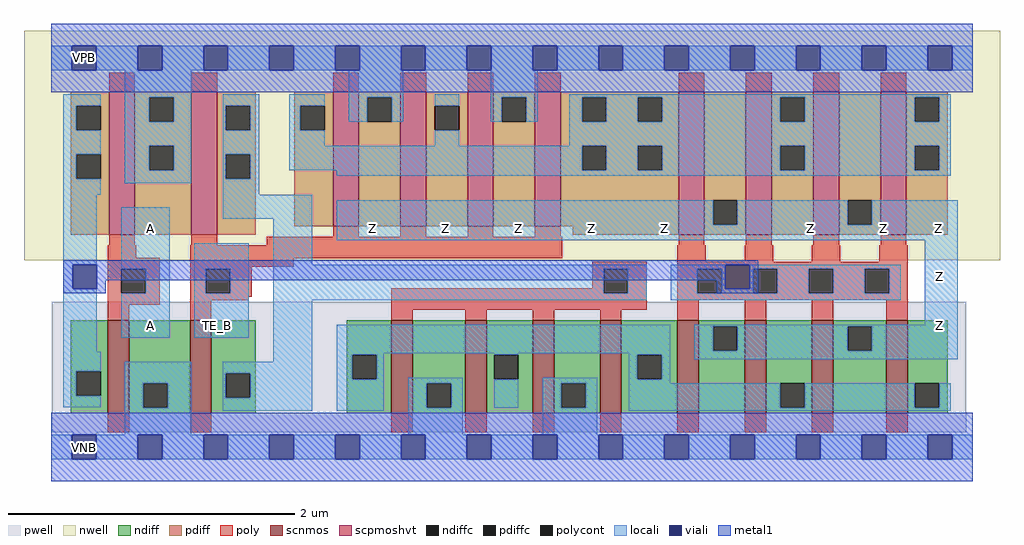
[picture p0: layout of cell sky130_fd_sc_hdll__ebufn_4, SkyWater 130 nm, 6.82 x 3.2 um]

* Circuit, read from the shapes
.subckt sky130_fd_sc_hdll__ebufn_4 A TE_B VGND VNB VPB VPWR Z
XM1 VGND A n1 VNB sky130_fd_pr__nfet_01v8 w=0.65 l=0.15
XM2 n2 TE_B VGND VNB sky130_fd_pr__nfet_01v8 w=0.65 l=0.15
XM3 VGND n2 n3 VNB sky130_fd_pr__nfet_01v8 w=0.65 l=0.15 m=4
XM4 Z n1 n3 VNB sky130_fd_pr__nfet_01v8 w=0.65 l=0.15 m=4
XM5 VPWR A n1 VPB sky130_fd_pr__pfet_01v8_hvt w=1 l=0.18
XM6 n2 TE_B VPWR VPB sky130_fd_pr__pfet_01v8_hvt w=1 l=0.18
XM7 VPWR TE_B n4 VPB sky130_fd_pr__pfet_01v8_hvt w=0.94 l=0.18 m=4
XM8 Z n1 n4 VPB sky130_fd_pr__pfet_01v8_hvt w=1 l=0.18 m=4
.ends

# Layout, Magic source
magic
tech sky130A
magscale 1 2
<< nwell >>
rect -38 261 1326 582
<< pwell >>
rect 1 21 1279 203
rect 30 -17 64 21
<< scnmos >>
rect 79 47 109 177
rect 194 47 224 177
rect 475 47 505 177
rect 579 47 609 177
rect 673 47 703 177
rect 767 47 797 177
rect 875 47 905 177
rect 969 47 999 177
rect 1063 47 1093 177
rect 1167 47 1197 177
<< scpmoshvt >>
rect 81 297 117 497
rect 196 297 232 497
rect 394 309 430 497
rect 488 309 524 497
rect 582 309 618 497
rect 676 309 712 497
rect 877 297 913 497
rect 971 297 1007 497
rect 1065 297 1101 497
rect 1159 297 1195 497
<< ndiff >>
rect 27 106 79 177
rect 27 72 35 106
rect 69 72 79 106
rect 27 47 79 72
rect 109 89 194 177
rect 109 55 129 89
rect 163 55 194 89
rect 109 47 194 55
rect 224 103 286 177
rect 224 69 244 103
rect 278 69 286 103
rect 224 47 286 69
rect 413 129 475 177
rect 413 95 421 129
rect 455 95 475 129
rect 413 47 475 95
rect 505 89 579 177
rect 505 55 525 89
rect 559 55 579 89
rect 505 47 579 55
rect 609 129 673 177
rect 609 95 619 129
rect 653 95 673 129
rect 609 47 673 95
rect 703 89 767 177
rect 703 55 713 89
rect 747 55 767 89
rect 703 47 767 55
rect 797 129 875 177
rect 797 95 819 129
rect 853 95 875 129
rect 797 47 875 95
rect 905 169 969 177
rect 905 135 925 169
rect 959 135 969 169
rect 905 47 969 135
rect 999 89 1063 177
rect 999 55 1019 89
rect 1053 55 1063 89
rect 999 47 1063 55
rect 1093 169 1167 177
rect 1093 135 1113 169
rect 1147 135 1167 169
rect 1093 47 1167 135
rect 1197 89 1253 177
rect 1197 55 1207 89
rect 1241 55 1253 89
rect 1197 47 1253 55
<< pdiff >>
rect 27 477 81 497
rect 27 443 35 477
rect 69 443 81 477
rect 27 409 81 443
rect 27 375 35 409
rect 69 375 81 409
rect 27 297 81 375
rect 117 489 196 497
rect 117 455 137 489
rect 171 455 196 489
rect 117 421 196 455
rect 117 387 137 421
rect 171 387 196 421
rect 117 297 196 387
rect 232 477 286 497
rect 232 443 244 477
rect 278 443 286 477
rect 232 409 286 443
rect 232 375 244 409
rect 278 375 286 409
rect 232 297 286 375
rect 340 477 394 497
rect 340 443 348 477
rect 382 443 394 477
rect 340 309 394 443
rect 430 489 488 497
rect 430 455 442 489
rect 476 455 488 489
rect 430 309 488 455
rect 524 477 582 497
rect 524 443 536 477
rect 570 443 582 477
rect 524 309 582 443
rect 618 489 676 497
rect 618 455 630 489
rect 664 455 676 489
rect 618 309 676 455
rect 712 489 877 497
rect 712 455 742 489
rect 776 455 820 489
rect 854 455 877 489
rect 712 421 877 455
rect 712 387 742 421
rect 776 387 820 421
rect 854 387 877 421
rect 712 309 877 387
rect 729 297 877 309
rect 913 345 971 497
rect 913 311 925 345
rect 959 311 971 345
rect 913 297 971 311
rect 1007 489 1065 497
rect 1007 455 1019 489
rect 1053 455 1065 489
rect 1007 421 1065 455
rect 1007 387 1019 421
rect 1053 387 1065 421
rect 1007 297 1065 387
rect 1101 345 1159 497
rect 1101 311 1113 345
rect 1147 311 1159 345
rect 1101 297 1159 311
rect 1195 489 1253 497
rect 1195 455 1207 489
rect 1241 455 1253 489
rect 1195 421 1253 455
rect 1195 387 1207 421
rect 1241 387 1253 421
rect 1195 297 1253 387
<< ndiffc >>
rect 35 72 69 106
rect 129 55 163 89
rect 244 69 278 103
rect 421 95 455 129
rect 525 55 559 89
rect 619 95 653 129
rect 713 55 747 89
rect 819 95 853 129
rect 925 135 959 169
rect 1019 55 1053 89
rect 1113 135 1147 169
rect 1207 55 1241 89
<< pdiffc >>
rect 35 443 69 477
rect 35 375 69 409
rect 137 455 171 489
rect 137 387 171 421
rect 244 443 278 477
rect 244 375 278 409
rect 348 443 382 477
rect 442 455 476 489
rect 536 443 570 477
rect 630 455 664 489
rect 742 455 776 489
rect 820 455 854 489
rect 742 387 776 421
rect 820 387 854 421
rect 925 311 959 345
rect 1019 455 1053 489
rect 1019 387 1053 421
rect 1113 311 1147 345
rect 1207 455 1241 489
rect 1207 387 1241 421
<< poly >>
rect 81 497 117 523
rect 196 497 232 523
rect 394 497 430 523
rect 488 497 524 523
rect 582 497 618 523
rect 676 497 712 523
rect 877 497 913 523
rect 971 497 1007 523
rect 1065 497 1101 523
rect 1159 497 1195 523
rect 81 282 117 297
rect 196 282 232 297
rect 394 294 430 309
rect 488 294 524 309
rect 582 294 618 309
rect 676 294 712 309
rect 301 282 714 294
rect 877 282 913 297
rect 971 282 1007 297
rect 1065 282 1101 297
rect 1159 282 1195 297
rect 79 265 119 282
rect 79 249 152 265
rect 79 215 98 249
rect 132 215 152 249
rect 79 199 152 215
rect 194 264 714 282
rect 194 252 339 264
rect 875 259 915 282
rect 969 259 1009 282
rect 1063 259 1103 282
rect 1157 259 1197 282
rect 194 249 280 252
rect 194 215 216 249
rect 250 215 280 249
rect 756 249 832 259
rect 756 222 772 249
rect 194 210 280 215
rect 475 215 772 222
rect 806 215 832 249
rect 194 205 276 210
rect 79 177 109 199
rect 194 177 224 205
rect 475 192 832 215
rect 875 249 1197 259
rect 875 215 903 249
rect 937 215 981 249
rect 1015 215 1059 249
rect 1093 215 1137 249
rect 1171 215 1197 249
rect 875 205 1197 215
rect 475 177 505 192
rect 579 177 609 192
rect 673 177 703 192
rect 767 177 797 192
rect 875 177 905 205
rect 969 177 999 205
rect 1063 177 1093 205
rect 1167 177 1197 205
rect 79 21 109 47
rect 194 21 224 47
rect 475 21 505 47
rect 579 21 609 47
rect 673 21 703 47
rect 767 21 797 47
rect 875 21 905 47
rect 969 21 999 47
rect 1063 21 1093 47
rect 1167 21 1197 47
<< polycont >>
rect 98 215 132 249
rect 216 215 250 249
rect 772 215 806 249
rect 903 215 937 249
rect 981 215 1015 249
rect 1059 215 1093 249
rect 1137 215 1171 249
<< locali >>
rect 0 527 29 561
rect 63 527 121 561
rect 155 527 213 561
rect 247 527 305 561
rect 339 527 397 561
rect 431 527 489 561
rect 523 527 581 561
rect 615 527 673 561
rect 707 527 765 561
rect 799 527 857 561
rect 891 527 949 561
rect 983 527 1041 561
rect 1075 527 1133 561
rect 1167 527 1225 561
rect 1259 527 1288 561
rect 17 477 69 493
rect 17 443 35 477
rect 17 409 69 443
rect 17 375 35 409
rect 17 353 69 375
rect 103 489 196 527
rect 103 455 137 489
rect 171 455 196 489
rect 103 421 196 455
rect 103 387 137 421
rect 171 387 196 421
rect 103 369 196 387
rect 240 477 291 493
rect 240 443 244 477
rect 278 443 291 477
rect 240 409 291 443
rect 240 375 244 409
rect 278 375 291 409
rect 333 477 382 493
rect 333 443 348 477
rect 416 489 492 527
rect 416 455 442 489
rect 476 455 492 489
rect 536 477 570 493
rect 333 421 382 443
rect 614 489 680 527
rect 614 455 630 489
rect 664 455 680 489
rect 724 489 1257 493
rect 724 455 742 489
rect 776 455 820 489
rect 854 455 1019 489
rect 1053 455 1207 489
rect 1241 455 1257 489
rect 536 421 570 443
rect 724 421 1257 455
rect 333 387 742 421
rect 776 387 820 421
rect 854 387 1019 421
rect 1053 387 1207 421
rect 1241 387 1257 421
rect 399 379 1257 387
rect 240 353 291 375
rect 17 255 64 353
rect 17 221 30 255
rect 17 133 64 221
rect 98 249 166 335
rect 240 319 365 353
rect 132 215 166 249
rect 98 153 166 215
rect 200 249 276 285
rect 200 215 216 249
rect 250 215 276 249
rect 200 153 276 215
rect 310 255 365 319
rect 399 311 925 345
rect 959 311 1113 345
rect 1147 311 1267 345
rect 399 289 1267 311
rect 310 249 832 255
rect 310 215 772 249
rect 806 215 832 249
rect 310 205 832 215
rect 866 249 942 255
rect 866 215 903 249
rect 937 221 942 249
rect 976 249 1187 255
rect 976 221 981 249
rect 937 215 981 221
rect 1015 215 1059 249
rect 1093 215 1137 249
rect 1171 215 1187 249
rect 866 205 1187 215
rect 17 106 69 133
rect 310 119 365 205
rect 1221 171 1267 289
rect 17 72 35 106
rect 17 56 69 72
rect 103 89 196 119
rect 103 55 129 89
rect 163 55 196 89
rect 103 17 196 55
rect 240 103 365 119
rect 240 69 244 103
rect 278 69 365 103
rect 240 51 365 69
rect 399 131 865 171
rect 399 129 465 131
rect 399 95 421 129
rect 455 95 465 129
rect 619 129 653 131
rect 399 51 465 95
rect 499 89 575 97
rect 499 55 525 89
rect 559 55 575 89
rect 807 129 865 131
rect 619 55 653 95
rect 687 89 763 97
rect 687 55 713 89
rect 747 55 763 89
rect 499 17 575 55
rect 687 17 763 55
rect 807 95 819 129
rect 853 95 865 129
rect 899 169 1267 171
rect 899 135 925 169
rect 959 135 1113 169
rect 1147 135 1267 169
rect 899 123 1267 135
rect 807 89 865 95
rect 807 55 1019 89
rect 1053 55 1207 89
rect 1241 55 1257 89
rect 807 51 1257 55
rect 0 -17 29 17
rect 63 -17 121 17
rect 155 -17 213 17
rect 247 -17 305 17
rect 339 -17 397 17
rect 431 -17 489 17
rect 523 -17 581 17
rect 615 -17 673 17
rect 707 -17 765 17
rect 799 -17 857 17
rect 891 -17 949 17
rect 983 -17 1041 17
rect 1075 -17 1133 17
rect 1167 -17 1225 17
rect 1259 -17 1288 17
<< viali >>
rect 29 527 63 561
rect 121 527 155 561
rect 213 527 247 561
rect 305 527 339 561
rect 397 527 431 561
rect 489 527 523 561
rect 581 527 615 561
rect 673 527 707 561
rect 765 527 799 561
rect 857 527 891 561
rect 949 527 983 561
rect 1041 527 1075 561
rect 1133 527 1167 561
rect 1225 527 1259 561
rect 30 221 64 255
rect 942 221 976 255
rect 29 -17 63 17
rect 121 -17 155 17
rect 213 -17 247 17
rect 305 -17 339 17
rect 397 -17 431 17
rect 489 -17 523 17
rect 581 -17 615 17
rect 673 -17 707 17
rect 765 -17 799 17
rect 857 -17 891 17
rect 949 -17 983 17
rect 1041 -17 1075 17
rect 1133 -17 1167 17
rect 1225 -17 1259 17
<< metal1 >>
rect 0 561 1288 592
rect 0 527 29 561
rect 63 527 121 561
rect 155 527 213 561
rect 247 527 305 561
rect 339 527 397 561
rect 431 527 489 561
rect 523 527 581 561
rect 615 527 673 561
rect 707 527 765 561
rect 799 527 857 561
rect 891 527 949 561
rect 983 527 1041 561
rect 1075 527 1133 561
rect 1167 527 1225 561
rect 1259 527 1288 561
rect 0 496 1288 527
rect 17 255 988 261
rect 17 221 30 255
rect 64 233 942 255
rect 64 221 76 233
rect 17 215 76 221
rect 930 221 942 233
rect 976 221 988 255
rect 930 215 988 221
rect 0 17 1288 48
rect 0 -17 29 17
rect 63 -17 121 17
rect 155 -17 213 17
rect 247 -17 305 17
rect 339 -17 397 17
rect 431 -17 489 17
rect 523 -17 581 17
rect 615 -17 673 17
rect 707 -17 765 17
rect 799 -17 857 17
rect 891 -17 949 17
rect 983 -17 1041 17
rect 1075 -17 1133 17
rect 1167 -17 1225 17
rect 1259 -17 1288 17
rect 0 -48 1288 -17
<< labels >>
flabel locali s 122 153 156 187 0 FreeSans 200 0 0 0 A
port 1 nsew signal input
flabel locali s 840 289 874 323 0 FreeSans 200 0 0 0 Z
port 7 nsew signal output
flabel locali s 738 289 772 323 0 FreeSans 200 0 0 0 Z
port 7 nsew signal output
flabel locali s 636 289 670 323 0 FreeSans 200 0 0 0 Z
port 7 nsew signal output
flabel locali s 534 289 568 323 0 FreeSans 200 0 0 0 Z
port 7 nsew signal output
flabel locali s 432 289 466 323 0 FreeSans 200 0 0 0 Z
port 7 nsew signal output
flabel locali s 1225 153 1259 187 0 FreeSans 200 0 0 0 Z
port 7 nsew signal output
flabel locali s 1225 221 1259 255 0 FreeSans 200 0 0 0 Z
port 7 nsew signal output
flabel locali s 1146 289 1180 323 0 FreeSans 200 0 0 0 Z
port 7 nsew signal output
flabel locali s 1044 289 1078 323 0 FreeSans 200 0 0 0 Z
port 7 nsew signal output
flabel locali s 215 153 249 187 0 FreeSans 200 0 0 0 TE_B
port 2 nsew signal input
flabel locali s 122 289 156 323 0 FreeSans 200 0 0 0 A
port 1 nsew signal input
flabel locali s 1223 289 1257 323 0 FreeSans 200 0 0 0 Z
port 7 nsew signal output
flabel pwell s 30 -17 64 17 0 FreeSans 200 0 0 0 VNB
port 4 nsew ground bidirectional
flabel nwell s 30 527 64 561 0 FreeSans 200 0 0 0 VPB
port 5 nsew power bidirectional
flabel metal1 s 30 -17 64 17 0 FreeSans 200 0 0 0 VGND
port 3 nsew ground bidirectional
flabel metal1 s 30 527 64 561 0 FreeSans 200 0 0 0 VPWR
port 6 nsew power bidirectional
rlabel comment s 0 0 0 0 4 ebufn_4
<< properties >>
string LEFsite unithd
string LEFclass CORE
string FIXED_BBOX 0 0 1288 544
string GDS_FILE $PDKPATH/libs.ref/sky130_fd_sc_hdll/gds/sky130_fd_sc_hdll.gds
string LEFsymmetry X Y R90
string GDS_END 1525902
string GDS_START 1516168
string LEFproperties maskLayoutSubType "abstract" prCellType "standard" originalViewName "layout"
<< end >>
